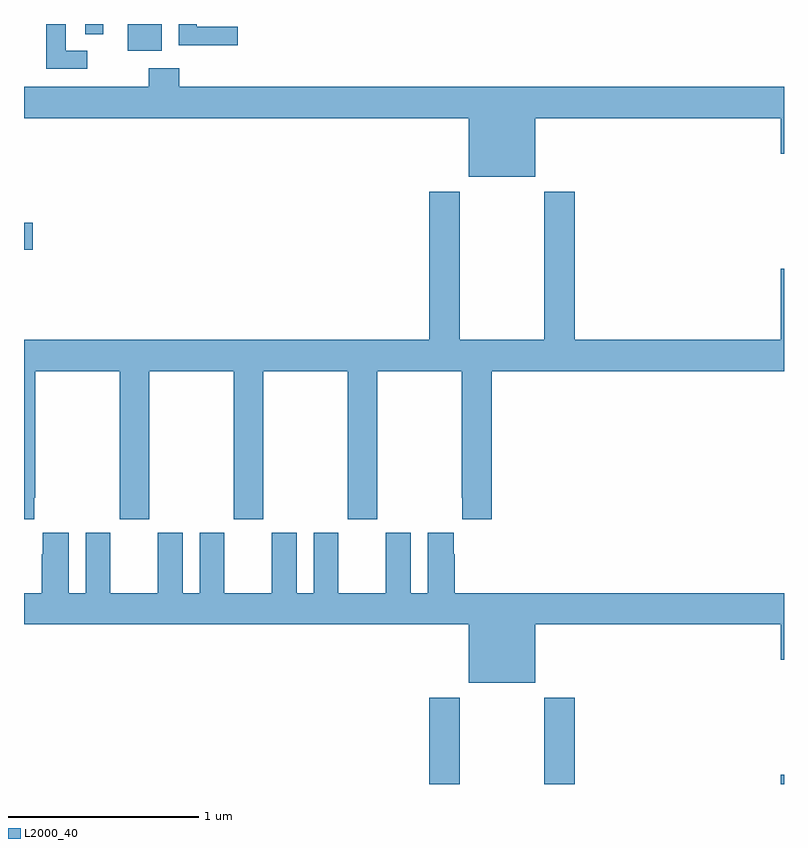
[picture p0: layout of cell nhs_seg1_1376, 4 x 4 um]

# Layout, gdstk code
import gdstk
lib = gdstk.Library(unit=1e-6, precision=1e-09)
def R(c, l, rs):  # rectangles x0, y0, x1, y1
    for r in rs: c.add(gdstk.rectangle(r[:2], r[2:], *l))
def P(c, l, *ps):  # polygons
    for p in ps: c.add(gdstk.Polygon(p, *l))
L2000_40 = (2000, 40)

nhs_seg1_1376 = lib.new_cell('nhs_seg1_1376')
R(nhs_seg1_1376, L2000_40, [(187.133,576.199,187.293,576.652), (187.738,576.199,187.898,576.652), (188.984,576.199,189,576.247), (185,579.01,185.047,579.152), (185.546,580.058,185.725,580.199), (185.322,580.144,185.418,580.199)])
P(nhs_seg1_1376, L2000_40, [(186.124,580.185),(185.91,580.185),(185.91,580.199),(185.814,580.199),(185.814,580.087),(186.124,580.087)],
  [(185.332,580.059),(185.221,580.059),(185.221,580.199),(185.117,580.199),(185.117,579.963),(185.332,579.963)],
  [(187.69,579.704),(188.984,579.704),(188.984,579.516),(189,579.516),(189,579.868),(185.816,579.868),(185.816,579.967),(185.656,579.967),(185.656,579.868),(185,579.868),(185,579.704),(187.34,579.704),(187.34,579.395),(187.69,579.395)],
  [(185,577.593),(185.053,577.593),(185.053,577.705),(185.058,577.705),(185.058,578.372),(185.503,578.372),(185.503,577.593),(185.658,577.593),(185.658,578.372),(186.103,578.372),(186.103,577.593),(186.258,577.593),(186.258,578.372),(186.703,578.372),(186.703,577.593),(186.858,577.593),(186.858,578.372),(187.303,578.372),(187.303,577.705),(187.307,577.705),(187.307,577.593),(187.463,577.593),(187.463,578.372),(189,578.372),(189,578.911),(188.984,578.911),(188.984,578.536),(187.898,578.536),(187.898,579.316),(187.738,579.316),(187.738,578.536),(187.293,578.536),(187.293,579.316),(187.133,579.316),(187.133,578.536),(185,578.536)],
  [(187.69,577.04),(188.984,577.04),(188.984,576.852),(189,576.852),(189,577.204),(187.268,577.204),(187.268,577.409),(187.261,577.409),(187.261,577.522),(187.124,577.522),(187.124,577.204),(187.036,577.204),(187.036,577.522),(186.905,577.522),(186.905,577.204),(186.655,577.204),(186.655,577.522),(186.524,577.522),(186.524,577.204),(186.436,577.204),(186.436,577.522),(186.305,577.522),(186.305,577.204),(186.055,577.204),(186.055,577.522),(185.924,577.522),(185.924,577.204),(185.836,577.204),(185.836,577.522),(185.705,577.522),(185.705,577.204),(185.455,577.204),(185.455,577.522),(185.324,577.522),(185.324,577.204),(185.236,577.204),(185.236,577.522),(185.099,577.522),(185.099,577.409),(185.093,577.409),(185.093,577.204),(185,577.204),(185,577.04),(187.34,577.04),(187.34,576.731),(187.69,576.731)])

lib.write_gds('nhs_seg1_1376.gds')
